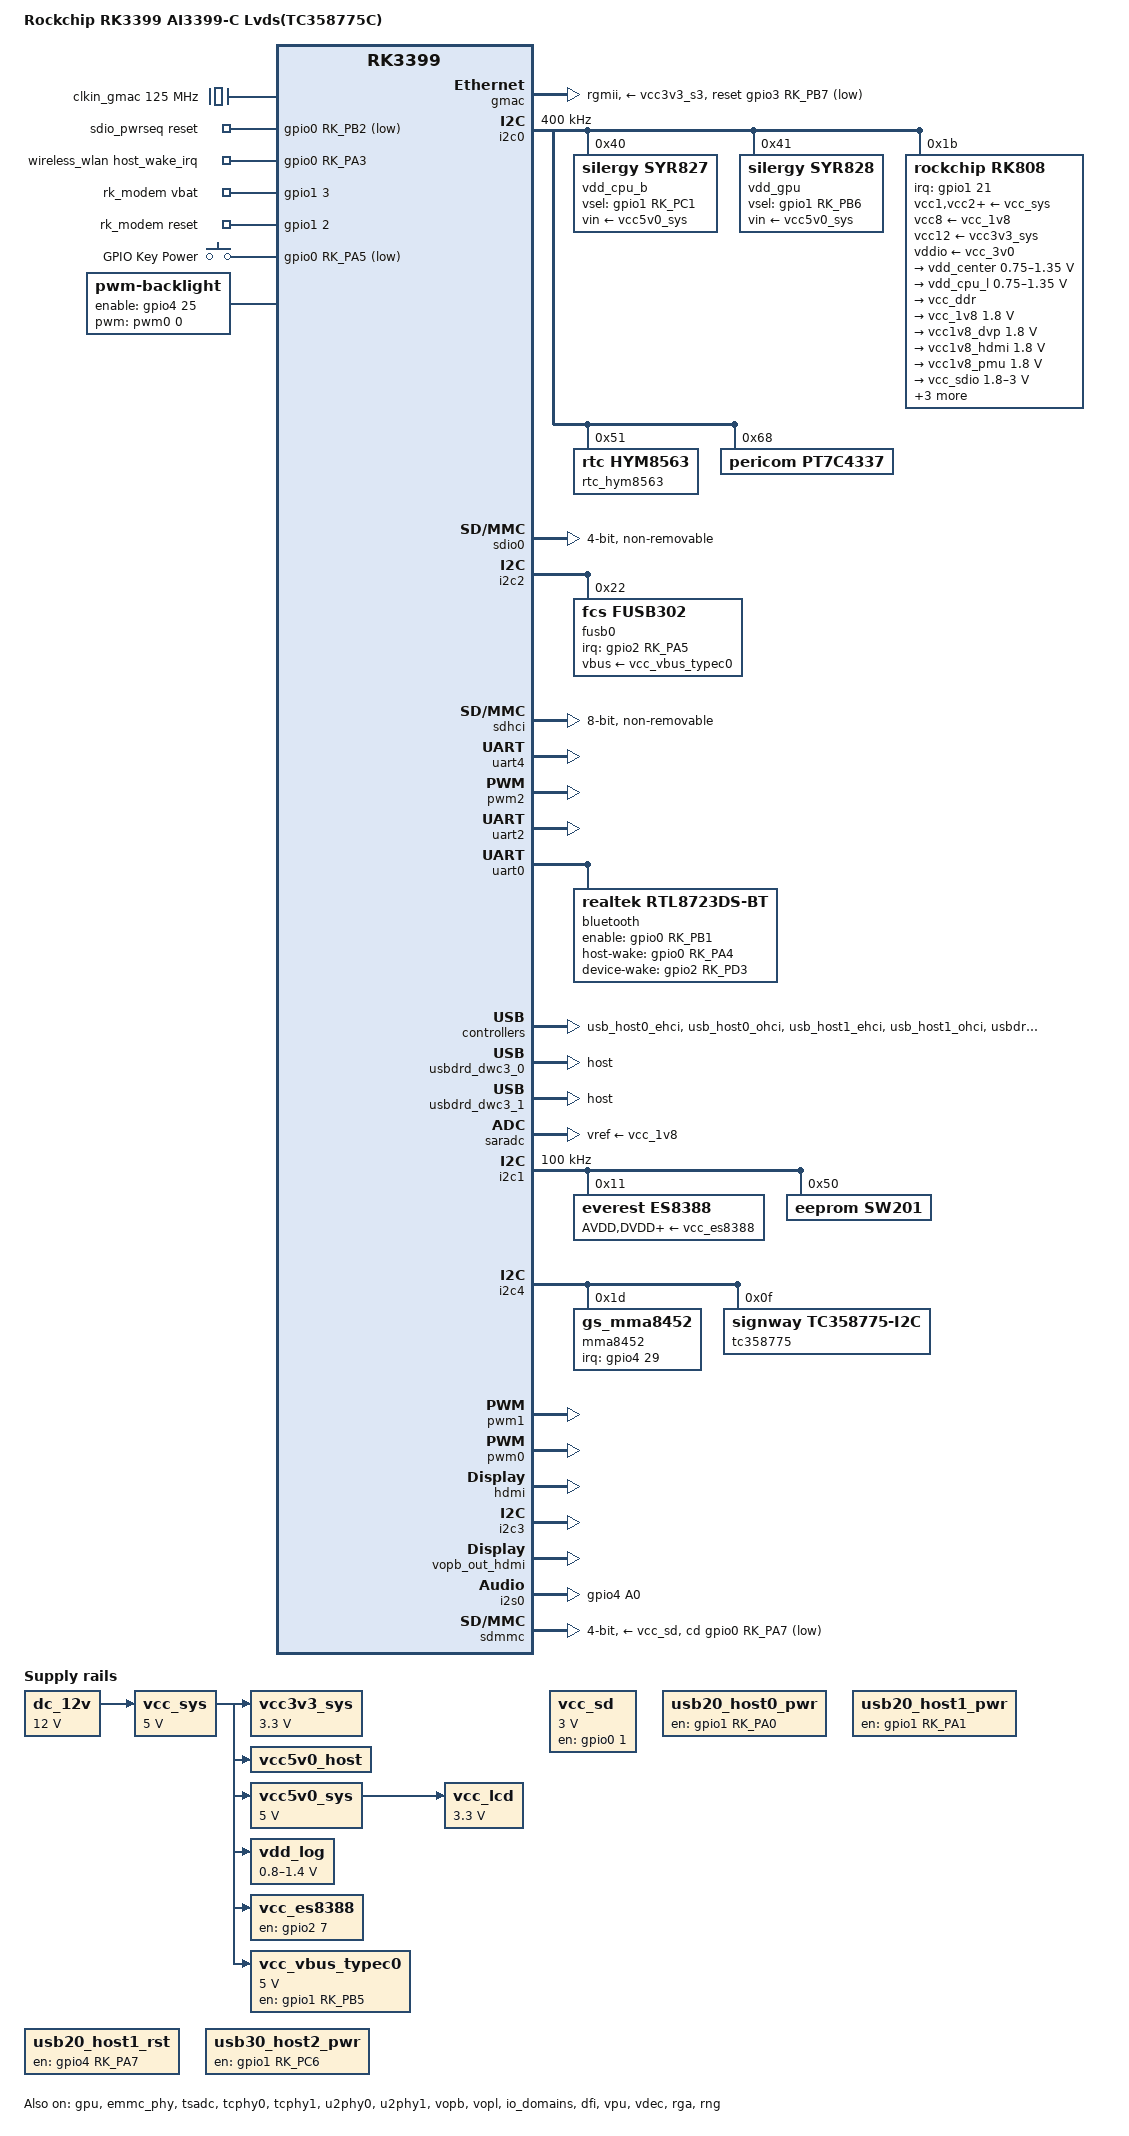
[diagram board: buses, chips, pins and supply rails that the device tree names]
// SPDX-License-Identifier: (GPL-2.0+ OR MIT)
/*
 * Copyright (c) 2016 Fuzhou Rockchip Electronics Co., Ltd
 * Copyright (c) 2025 puppywang
 */

/dts-v1/;
#include <dt-bindings/pwm/pwm.h>
#include <dt-bindings/input/input.h>
#include <dt-bindings/usb/pd.h>
#include "rk3399.dtsi"

/ {
	model = "Rockchip RK3399 AI3399-C Lvds(TC358775C)";
	compatible = "signway,rk3399-ai3399c-lvds", "rockchip,rk3399";

	aliases {
		ethernet0 = &gmac;
		mmc0 = &sdhci;
		mmc1 = &sdmmc;
		mmc2 = &sdio0;
	};

	chosen {
		stdout-path = "serial2:1500000n8";
		bootargs = "earlycon=uart8250,mmio32,0xff1a0000 console=ttyS2,1500000n8";
	};

	clkin_gmac: external-gmac-clock {
		compatible = "fixed-clock";
		clock-frequency = <125000000>;
		clock-output-names = "clkin_gmac";
		#clock-cells = <0>;
	};

	dc_12v: dc-12v {
		compatible = "regulator-fixed";
		regulator-name = "dc_12v";
		regulator-always-on;
		regulator-boot-on;
		regulator-min-microvolt = <12000000>;
		regulator-max-microvolt = <12000000>;
	};

	vcc_sys: vcc-sys {
		compatible = "regulator-fixed";
		regulator-name = "vcc_sys";
		regulator-always-on;
		regulator-boot-on;
		regulator-min-microvolt = <5000000>;
		regulator-max-microvolt = <5000000>;
		vin-supply = <&dc_12v>;
	};
	vcc3v3_sys: vcc3v3-sys {
		compatible = "regulator-fixed";
		regulator-name = "vcc3v3_sys";
		regulator-always-on;
		regulator-boot-on;
		regulator-min-microvolt = <3300000>;
		regulator-max-microvolt = <3300000>;
		vin-supply = <&vcc_sys>;
	};

	vcc5v0_host: vcc5v0-host-regulator {
		compatible = "regulator-fixed";
		regulator-name = "vcc5v0_host";
		regulator-always-on;
		vin-supply = <&vcc_sys>;
	};

	vcc5v0_sys: vcc5v0-sys {
		compatible = "regulator-fixed";
		regulator-name = "vcc5v0_sys";
		regulator-always-on;
		regulator-boot-on;
		regulator-min-microvolt = <5000000>;
		regulator-max-microvolt = <5000000>;
		vin-supply = <&vcc_sys>;
	};

	vdd_log: vdd-log {
		compatible = "pwm-regulator";
		pwms = <&pwm2 0 25000 1>;
		rockchip,pwm_id = <2>;
		rockchip,pwm_voltage = <1000000>;
		regulator-name = "vdd_log";
		regulator-always-on;
		regulator-boot-on;
		regulator-min-microvolt = <800000>;
		regulator-max-microvolt = <1400000>;
		vin-supply = <&vcc_sys>;
	};

	vcc_es8388: vcc-es8388-regulator {
		compatible = "regulator-fixed";
		enable-active-high;
		gpio = <&gpio2 7 GPIO_ACTIVE_HIGH>;
		pinctrl-names = "default";
		pinctrl-0 = <&es8388_en>;
		regulator-name = "vcc_es8388";
		regulator-boot-on;
		regulator-always-on;
		vin-supply = <&vcc_sys>;
	};

	vcc_sd: vcc-sd {
		compatible = "regulator-fixed";
		enable-active-high;
		gpio = <&gpio0 1 GPIO_ACTIVE_HIGH>;
		pinctrl-names = "default";
		pinctrl-0 = <&sdmmc0_pwr_h>;
		regulator-always-on;
		regulator-boot-on;
		regulator-min-microvolt = <3000000>;
		regulator-max-microvolt = <3000000>;
		regulator-name = "vcc_sd";
	};

	vcc_lcd: vcc-lcd {
		compatible = "regulator-fixed";
		regulator-name = "vcc_lcd";
		startup-delay-us = <20000>;
		regulator-min-microvolt = <3300000>;
		regulator-max-microvolt = <3300000>;
		regulator-always-on;
		regulator-boot-on;
		vin-supply = <&vcc5v0_sys>;
	};

	sdio_pwrseq: sdio-pwrseq {
		compatible = "mmc-pwrseq-simple";
		clocks = <&rk808 1>;
		clock-names = "ext_clock";
		pinctrl-names = "default";
		pinctrl-0 = <&wifi_enable_h>;
		reset-gpios = <&gpio0 RK_PB2 GPIO_ACTIVE_LOW>;
	};

	wireless_wlan: wireless-wlan {
		compatible = "wlan-platdata";
		rockchip,grf = <&grf>;
		wifi_chip_type = "rtl8723ds";
		pinctrl-0 = <&wifi_host_wake_l>;
		WIFI,host_wake_irq = <&gpio0 RK_PA3 GPIO_ACTIVE_HIGH>;
		status = "okay";
	};
	/*
    wireless_bluetooth: wireless-bluetooth {
        compatible = "bluetooth-platdata";
        clocks = <&rk808 1>;
        clock-names = "ext_clock";
        uart_rts_gpios = <&gpio2 19 GPIO_ACTIVE_LOW>;
        pinctrl-names = "default\0rts_gpio";
        pinctrl-0 = <&uart0_rts>;//待引用
        pinctrl-1 = <&uart0_gpios &bt_rst>;//待引用
        BT,reset_gpio = <&gpio0 9 GPIO_ACTIVE_HIGH>;
        BT,wake_gpio = <&gpio2 27 GPIO_ACTIVE_HIGH>;
        BT,wake_host_irq = <&gpio0 4 GPIO_ACTIVE_HIGH>;
        status = "okay";
    };*/
	//改供电
	usb20_host0_pwr {
		status = "okay";
		compatible = "regulator-fixed";
		enable-active-high;
		gpio = <&gpio1 RK_PA0 GPIO_ACTIVE_HIGH>;
		pinctrl-0 = <&usb20_host0_pwr_gpio>;
		pinctrl-names = "default";
		regulator-name = "usb20_host0_pwr";
		regulator-always-on;
	};
	usb20_host1_pwr {
		status = "okay";
		compatible = "regulator-fixed";
		enable-active-high;
		gpio = <&gpio1 RK_PA1 GPIO_ACTIVE_HIGH>;
		pinctrl-0 = <&usb20_host1_pwr_gpio>;
		pinctrl-names = "default";
		regulator-name = "usb20_host1_pwr";
		regulator-always-on;
	};
	usb20_host1_rst {
		status = "okay";
		compatible = "regulator-fixed";
		enable-active-high;
		gpio = <&gpio4 RK_PA7 GPIO_ACTIVE_HIGH>;
		pinctrl-0 = <&usb20_host1_rst_gpio>;
		pinctrl-names = "default";
		regulator-name = "usb20_host1_rst";
		regulator-always-on;
	};
	usb30_host2_pwr {
		status = "okay";
		compatible = "regulator-fixed";
		enable-active-high;
		gpio = <&gpio1 RK_PC6 GPIO_ACTIVE_HIGH>;
		pinctrl-0 = <&usb30_host2_pwr_gpio>;
		pinctrl-names = "default";
		regulator-name = "usb30_host2_pwr";
		regulator-always-on;
	};
	vcc_vbus_typec0: vcc-vbus-typec0 {
		compatible = "regulator-fixed";
		enable-active-high;
		gpio = <&gpio1 RK_PB5 GPIO_ACTIVE_HIGH>;
		pinctrl-names = "default";
		pinctrl-0 = <&vcc_vbus_typec0_en>;
		regulator-name = "vcc_vbus_typec0";
		regulator-min-microvolt = <5000000>;
		regulator-max-microvolt = <5000000>;
		vin-supply = <&vcc_sys>;
	};


	//可能没驱动,注意,可能需要替换成 gpio-leds
	/*
    signway_gpio: signway-gpio {
        status = "okay";
        compatible = "signway,gpio";
        usb20-host0-pwr {
            label = "usb20-host0-pwr";
            gpios = <&gpio1 0 GPIO_ACTIVE_HIGH>;
            default-state = <0x1>;
        };
        usb20-host1-pwr {
            label = "usb20-host1-pwr";
            gpios = <&gpio1 1 GPIO_ACTIVE_HIGH>;
            default-state = <0x1>;
        };
        usb20-host1-rst {
            label = "usb20-host1-rst";
            gpios = <&gpio4 7 GPIO_ACTIVE_HIGH>;
            default-state = <0x1>;
        };
        usb30-host2-pwr {
            label = "usb30-host2-pwr";
            gpios = <&gpio1 22 GPIO_ACTIVE_HIGH>;
            default-state = <0x1>;
        };
    };*/
    rk_modem: rk-modem {
        compatible = "4g-modem-platdata";
        pinctrl-names = "default";
        pinctrl-0 = <&lte_vbat &lte_reset>;//待引用
        4G,vbat-gpio = <&gpio1 3 GPIO_ACTIVE_HIGH>;
        4G,reset-gpio = <&gpio1 2 GPIO_ACTIVE_HIGH>;
        status = "okay";
    };
	es8388_sound: es8388-sound {
        compatible = "simple-audio-card";
        simple-audio-card,format = "i2s";
        simple-audio-card,name = "rockchip,es8388-codec";
        simple-audio-card,mclk-fs = <0x100>;
		simple-audio-card,widgets = "Microphone", "Mic Jack",
									"Headphone", "Headphone Jack";
		simple-audio-card,routing = "LINPUT1", "Mic Jack",
									"Headphone Jack", "LOUT1",
									"Headphone Jack", "ROUT1";
        status = "okay";
        simple-audio-card,cpu {
            sound-dai = <&i2s0>;
        };
        simple-audio-card,codec {
            sound-dai = <&es8388>;
        };
	};
	gpio-keys {
		compatible = "gpio-keys";
		autorepeat;
		pinctrl-names = "default";
		pinctrl-0 = <&pwr_btn>;
		status = "okay";

		power {
			debounce-interval = <100>;
			gpios = <&gpio0 RK_PA5 GPIO_ACTIVE_LOW>;
			label = "GPIO Key Power";
			linux,code = <KEY_POWER>;
			wakeup-source;
		};
	};

	reserved-memory {
		#address-cells = <2>;
		#size-cells = <2>;
		ranges;

		ramoops_mem: ramoops@110000 {
			reg = <0x0 0x110000 0x0 0xf0000>;
			reg-names = "ramoops_mem";
		};
	};

	ramoops {
		compatible = "ramoops";
		record-size = <0x20000>;
		console-size = <0x80000>;
		ftrace-size = <0x00000>;
		pmsg-size = <0x50000>;
		memory-region = <&ramoops_mem>;
	};

	backlight {
		status = "okay";
		compatible = "pwm-backlight";
		brightness-levels = <
			 47  47  47  47  47  47  48  48  49  49  50  50  51  51  52  52
			 53  53  54  54  55  55  56  56  57  57  58  58  59  59  60  60
			 61  61  62  62  63  63  64  64  65  65  66  66  67  67  68  68
			 69  69  70  70  71  71  72  72  73  73  74  74  75  75  76  76
			 77  77  78  78  79  79  80  80  81  81  82  82  83  83  84  84
			 85  85  86  86  87  87  88  88  89  90  91  92  93  94  95  96
			 97  98  99 100 101 102 103 104 105 106 107 108 109 110 111 112
			113 114 115 116 117 118 119 120 121 122 123 124 125 126 127 128
			129 130 131 132 133 134 135 136 137 138 139 140 141 142 143 144
			145 146 147 148 149 150 151 152 153 154 155 156 157 158 159 160
			161 162 163 164 165 166 167 168 169 170 171 172 173 174 175 176
			177 178 179 180 181 182 183 184 185 186 187 188 189 190 191 192
			193 194 195 196 197 198 199 200 201 202 203 204 205 206 207 208
			209 210 211 212 213 214 215 216 217 218 219 220 221 222 223 224
			225 226 227 228 229 230 231 232 233 234 235 236 237 238 239 240
			241 242 243 244 245 246 247 248 249 250 251 252 253 254 255>;
		default-brightness-level = <200>;
		enable-gpios = <&gpio4 25 GPIO_ACTIVE_HIGH>;
		pwms = <&pwm0 0 5000000 PWM_POLARITY_INVERTED>;
	};
};

&cpu_l0 {
	cpu-supply = <&vdd_cpu_l>;
};

&cpu_l1 {
	cpu-supply = <&vdd_cpu_l>;
};

&cpu_l2 {
	cpu-supply = <&vdd_cpu_l>;
};

&cpu_l3 {
	cpu-supply = <&vdd_cpu_l>;
};

&cpu_b0 {
	cpu-supply = <&vdd_cpu_b>;
};

&cpu_b1 {
	cpu-supply = <&vdd_cpu_b>;
};

&gpu {
	mali-supply = <&vdd_gpu>;
	status = "okay";
};

&emmc_phy {
	status = "okay";
};

&gmac {
	phy-supply = <&vcc3v3_s3>;
	phy-mode = "rgmii";
	clock_in_out = "input";
	snps,reset-gpio = <&gpio3 RK_PB7 GPIO_ACTIVE_LOW>;
	snps,reset-active-low;
	snps,reset-delays-us = <0 10000 50000>;
	assigned-clocks = <&cru SCLK_RMII_SRC>;
	assigned-clock-parents = <&clkin_gmac>;
	pinctrl-names = "default";
	pinctrl-0 = <&rgmii_pins>;
	tx_delay = <0x34>;
	rx_delay = <0x27>;
	status = "okay";
};

&i2c0 {
	status = "okay";
	i2c-scl-rising-time-ns = <168>;
	i2c-scl-falling-time-ns = <4>;
	clock-frequency = <400000>;

	vdd_cpu_b: syr827@40 {
		compatible = "silergy,syr827";
		reg = <0x40>;
		vin-supply = <&vcc5v0_sys>;
		regulator-compatible = "fan53555-reg";
		pinctrl-0 = <&vsel1_gpio>;
		vsel-gpios = <&gpio1 RK_PC1 GPIO_ACTIVE_HIGH>;
		regulator-name = "vdd_cpu_b";
		regulator-min-microvolt = <712500>;
		regulator-max-microvolt = <1500000>;
		regulator-ramp-delay = <1000>;
		fcs,suspend-voltage-selector = <1>;
		regulator-always-on;
		regulator-boot-on;
		regulator-initial-state = <3>;

		regulator-state-mem {
			regulator-off-in-suspend;
		};
	};

	vdd_gpu: syr828@41 {
		compatible = "silergy,syr828";
		reg = <0x41>;
		vin-supply = <&vcc5v0_sys>;
		regulator-compatible = "fan53555-reg";
		pinctrl-names = "default";
		pinctrl-0 = <&vsel2_gpio>;
		vsel-gpios = <&gpio1 RK_PB6 GPIO_ACTIVE_HIGH>;
		regulator-name = "vdd_gpu";
		regulator-min-microvolt = <712500>;
		regulator-max-microvolt = <1500000>;
		regulator-ramp-delay = <1000>;
		fcs,suspend-voltage-selector = <1>;
		regulator-always-on;
		regulator-boot-on;
		regulator-initial-state = <3>;

		regulator-state-mem {
			regulator-off-in-suspend;
		};
	};

	rk808: pmic@1b {
		compatible = "rockchip,rk808";
		reg = <0x1b>;
		interrupt-parent = <&gpio1>;
		interrupts = <21 IRQ_TYPE_LEVEL_LOW>;
		pinctrl-names = "default";
		pinctrl-0 = <&pmic_int_l>;
		rockchip,system-power-controller;
		wakeup-source;
		#clock-cells = <1>;
		clock-output-names = "xin32k", "rk808-clkout2";
		vcc1-supply = <&vcc_sys>;
		vcc2-supply = <&vcc_sys>;
		vcc3-supply = <&vcc_sys>;
		vcc4-supply = <&vcc_sys>;
		vcc6-supply = <&vcc_sys>;
		vcc7-supply = <&vcc_sys>;
		vcc8-supply = <&vcc_1v8>;
		vcc9-supply = <&vcc_sys>;
		vcc10-supply = <&vcc_sys>;
		vcc11-supply = <&vcc_sys>;
		vcc12-supply = <&vcc3v3_sys>;
		vddio-supply = <&vcc_3v0>;
		rtc {
			status = "okay";
		};
		regulators {

			vdd_center: DCDC_REG1 {
				regulator-always-on;
				regulator-boot-on;
				regulator-min-microvolt = <750000>;
				regulator-max-microvolt = <1350000>;
				regulator-ramp-delay = <6001>;
				regulator-name = "vdd_center";

				regulator-state-mem {
					regulator-off-in-suspend;
				};
			};

			vdd_cpu_l: DCDC_REG2 {
				regulator-always-on;
				regulator-boot-on;
				regulator-min-microvolt = <750000>;
				regulator-max-microvolt = <1350000>;
				regulator-ramp-delay = <6001>;
				regulator-name = "vdd_cpu_l";

				regulator-state-mem {
					regulator-off-in-suspend;
				};
			};

			vcc_ddr: DCDC_REG3 {
				regulator-always-on;
				regulator-boot-on;
				regulator-name = "vcc_ddr";

				regulator-state-mem {
					regulator-on-in-suspend;
				};
			};

			vcc_1v8: DCDC_REG4 {
				regulator-always-on;
				regulator-boot-on;
				regulator-min-microvolt = <1800000>;
				regulator-max-microvolt = <1800000>;
				regulator-name = "vcc_1v8";

				regulator-state-mem {
					regulator-on-in-suspend;
					regulator-suspend-microvolt = <1800000>;
				};
			};

			vcc1v8_dvp: LDO_REG1 {
				regulator-always-on;
				regulator-boot-on;
				regulator-min-microvolt = <1800000>;
				regulator-max-microvolt = <1800000>;
				regulator-name = "vcc1v8_dvp";

				regulator-state-mem {
					regulator-off-in-suspend;
				};
			};

			vcc1v8_hdmi: LDO_REG2 {
				regulator-name = "vcc1v8_hdmi";
				regulator-always-on;
				regulator-boot-on;
				regulator-min-microvolt = <1800000>;
				regulator-max-microvolt = <1800000>;
				regulator-state-mem {
					regulator-on-in-suspend;
					regulator-suspend-microvolt = <1800000>;
				};
			};

			vcc1v8_pmu: LDO_REG3 {
				regulator-always-on;
				regulator-boot-on;
				regulator-min-microvolt = <1800000>;
				regulator-max-microvolt = <1800000>;
				regulator-name = "vcc1v8_pmu";

				regulator-state-mem {
					regulator-on-in-suspend;
					regulator-suspend-microvolt = <1800000>;
				};
			};

			vcc_sdio: LDO_REG4 {
				regulator-always-on;
				regulator-boot-on;
				regulator-min-microvolt = <1800000>;
				regulator-max-microvolt = <3000000>;
				regulator-name = "vcc_sdio";

				regulator-state-mem {
					regulator-on-in-suspend;
					regulator-suspend-microvolt = <3000000>;
				};
			};

			vcca3v0_tp: LDO_REG5 {
				regulator-always-on;
				regulator-boot-on;
				regulator-min-microvolt = <3000000>;
				regulator-max-microvolt = <3000000>;
				regulator-name = "vcca3v0_codec";

				regulator-state-mem {
					regulator-off-in-suspend;
				};
			};

			vcc_1v5: LDO_REG6 {
				regulator-always-on;
				regulator-boot-on;
				regulator-min-microvolt = <1500000>;
				regulator-max-microvolt = <1500000>;
				regulator-name = "vcc_1v5";

				regulator-state-mem {
					regulator-on-in-suspend;
					regulator-suspend-microvolt = <1500000>;
				};
			};

			vcca0v9_hdmi: LDO_REG7 {
				regulator-name = "vcca0v9_hdmi";
				regulator-always-on;
				regulator-boot-on;
				regulator-min-microvolt = <900000>;
				regulator-max-microvolt = <900000>;
				regulator-state-mem {
					regulator-on-in-suspend;
					regulator-suspend-microvolt = <900000>;
				};
			};

			vcc_3v0: LDO_REG8 {
				regulator-always-on;
				regulator-boot-on;
				regulator-min-microvolt = <3000000>;
				regulator-max-microvolt = <3000000>;
				regulator-name = "vcc_3v0";

				regulator-state-mem {
					regulator-on-in-suspend;
					regulator-suspend-microvolt = <3000000>;
				};
			};

			vcc3v3_s3: SWITCH_REG1 {
				regulator-always-on;
				regulator-boot-on;
				regulator-name = "vcc3v3_s3";

				regulator-state-mem {
					regulator-on-in-suspend;
				};
			};

			vcc3v3_s0: SWITCH_REG2 {
				regulator-always-on;
				regulator-boot-on;
				regulator-name = "vcc3v3_s0";

				regulator-state-mem {
					regulator-on-in-suspend;
				};
			};
		};
	};
	rtc_hym8563: rtc_hym8563@51 {
		status = "okay";
		compatible = "rtc,hym8563";
		reg = <0x51>;
	};
	/*未驱动,待驱动*/
	pt7c4337: pt7c4337@68 {
		status = "okay";
		compatible = "pericom,pt7c4337";
		reg = <0x68>;
	};
};

&sdio0 {
	bus-width = <4>;
	cap-sdio-irq;
	cap-sd-highspeed;
	keep-power-in-suspend;
	mmc-pwrseq = <&sdio_pwrseq>;
	non-removable;
	pinctrl-names = "default";
	pinctrl-0 = <&sdio0_bus4 &sdio0_cmd &sdio0_clk>;
	sd-uhs-sdr104;
	#address-cells = <1>;
	#size-cells = <0>;
	status = "okay";
};

&i2c2 {
	status = "okay";
	fusb0: fusb30x@22 {
		compatible = "fcs,fusb302";
		reg = <0x22>;
		pinctrl-names = "default";
		pinctrl-0 = <&fusb0_int>;

		interrupt-parent = <&gpio2>;
		interrupts = <RK_PA5 IRQ_TYPE_LEVEL_LOW>;
		vbus-supply = <&vcc_vbus_typec0>;
		//vbus-5v-gpios = <&gpio1 13 GPIO_ACTIVE_HIGH>;
		status = "okay";

		/* NOTE: usb-role-switch ports node disabled since DWC3 is in host mode.
		 * TODO: Re-enable when fixing OTG support.
		 */

		typec_con: connector {
			compatible = "usb-c-connector";
			data-role = "dual";
			label = "USB-C";
			op-sink-microwatt = <1000000>;
			power-role = "dual";

			sink-pdos =
				<PDO_FIXED(5000, 2500, PDO_FIXED_USB_COMM)>;
			source-pdos =
				<PDO_FIXED(5000, 1400, PDO_FIXED_USB_COMM)>;
			try-power-role = "source";
			ports {
			/*	#address-cells = <1>;
				#size-cells = <0>;

				port@0 {
					reg = <0>;
					typec_hs: endpoint {
						remote-endpoint = <&u2phy0_typec_hs>;
					};
				};
				port@1 {
					reg = <1>;
					typec_ss: endpoint {
						remote-endpoint = <&tcphy0_typec_ss>;
					};
				};
				port@2 {
					reg = <2>;
					typec_dp: endpoint {
						remote-endpoint = <&tcphy0_typec_dp>;
					};
				}; */
			};
		};
	};
};
/*
从firefly抄袭的节点
&i2c4 {
	i2c-scl-rising-time-ns = <600>;
	i2c-scl-falling-time-ns = <20>;
	status = "okay";

	fusb1: usb-typec@22 {
		compatible = "fcs,fusb302";
		reg = <0x22>;
		interrupt-parent = <&gpio1>;
		interrupts = <1 IRQ_TYPE_LEVEL_LOW>;
		pinctrl-names = "default";
		pinctrl-0 = <&fusb1_int>;
		vbus-supply = <&vcc_vbus_typec1>;
		status = "okay";
	};
};
*/
&sdhci {
	bus-width = <8>;
	mmc-hs400-1_8v;
	mmc-hs400-enhanced-strobe;
	keep-power-in-suspend;
	non-removable;
	supports-emmc;
	status = "okay";
};
&uart4{
	status = "okay";
};
&tsadc {
	status = "okay";
	rockchip,hw-tshut-mode = <1>;
	rockchip,hw-tshut-polarity = <1>;
};

&pwm2 {
	status = "okay";
};

&uart2 {
	status = "okay";
};
// RTL8723DS Bluetooth via UART0
&uart0 {
	pinctrl-names = "default";
	pinctrl-0 = <&uart0_xfer &uart0_cts &uart0_rts>;
	status = "okay";

	bluetooth {
		compatible = "realtek,rtl8723ds-bt";
		enable-gpios = <&gpio0 RK_PB1 GPIO_ACTIVE_HIGH>;  // BT_REG_ON
		host-wake-gpios = <&gpio0 RK_PA4 GPIO_ACTIVE_HIGH>;  // BT_HOST_WAKE
		device-wake-gpios = <&gpio2 RK_PD3 GPIO_ACTIVE_HIGH>;  // BT_WAKE
		pinctrl-names = "default";
		pinctrl-0 = <&bt_reg_on_h &bt_host_wake_l &bt_wake_l>;
	};
};
	/*参考
    wireless_bluetooth: wireless-bluetooth {
        compatible = "bluetooth-platdata";
        clocks = <&rk808 1>;
        clock-names = "ext_clock";
        uart_rts_gpios = <&gpio2 19 GPIO_ACTIVE_LOW>;
        pinctrl-names = "default\0rts_gpio";
        pinctrl-0 = <&uart0_rts>;//待引用
        pinctrl-1 = <&uart0_gpios &bt_rst>;//待引用
        BT,reset_gpio = <&gpio0 9 GPIO_ACTIVE_HIGH>;
        BT,wake_gpio = <&gpio2 27 GPIO_ACTIVE_HIGH>;
        BT,wake_host_irq = <&gpio0 4 GPIO_ACTIVE_HIGH>;
        status = "okay";
    };*/
&tcphy0 {
	status = "okay";
};
&tcphy0_dp { // verify
	port {
		/* tcphy0_typec_dp: endpoint {
			remote-endpoint = <&typec_dp>;
		}; */
	};
};
&tcphy0_usb3 { // verify
	port {
		/* tcphy0_typec_ss: endpoint {
			remote-endpoint = <&typec_ss>;
		}; */
	};
};
&tcphy1 {
	status = "okay";
};

&u2phy0 {
	status = "okay";

	u2phy0_otg: otg-port {
		status = "okay";
	};

	u2phy0_host: host-port {
		phy-supply = <&vcc5v0_host>;
		status = "okay";
	};

	port {
		/* u2phy0_typec_hs: endpoint {
			remote-endpoint = <&typec_hs>;
		}; */
	};
};
&u2phy1 {
	status = "okay";

	u2phy1_otg: otg-port {
		status = "okay";
	};

	u2phy1_host: host-port {
		phy-supply = <&vcc5v0_host>;
		status = "okay";
	};
};
&spdif {
	status = "disabled";  // conflicts with ES8388 spk-ctl GPIO4_C5
	i2c-scl-rising-time-ns = <450>;
	i2c-scl-falling-time-ns = <15>;
};
&usb_host0_ehci {
	status = "okay";
};

&usb_host0_ohci {
	status = "okay";
};

&usb_host1_ehci {
	status = "okay";
};

&usb_host1_ohci {
	status = "okay";
};

&usbdrd3_0 {
	status = "okay";
};

&usbdrd_dwc3_0 {
	status = "okay";
	dr_mode = "host";
	/* NOTE: usb-role-switch disabled due to TCPM not registering as provider.
	 * Type-C will work as pure host mode for now.
	 * TODO: Fix OF graph connection between fusb302 and DWC3 for proper OTG.
	 */
};

&usbdrd3_1 {
	status = "okay";
};

&usbdrd_dwc3_1 {
	status = "okay";
	dr_mode = "host";
};
&pinctrl {
	/*
	sleep {
		ap_pwroff: ap-pwroff {
			rockchip,pins = <1 RK_PA5 1 &pcfg_pull_none>;
		};
		ddrio_pwroff: ddrio-pwroff {
			rockchip,pins = <0 RK_PA1 1 &pcfg_pull_none>;
		};
	};*/
	backlight-enable {
		bl_edp_enable_gpio: bl-edp-enable-gpio {
			rockchip,pins = <0 RK_PB1 RK_FUNC_GPIO &pcfg_pull_none>;
		};

		bl-edp-pwr-gpio {
			rockchip,pins = <4 RK_PD1 RK_FUNC_GPIO &pcfg_pull_none>;
		};
	};
	wireless-bluetooth {
		uart0_gpios: uart0-gpios {
			rockchip,pins = <2 RK_PC3 RK_FUNC_GPIO &pcfg_pull_none>;
		};
		bt_rst: bt-rst {
			rockchip,pins = <0 RK_PB1 RK_FUNC_GPIO &pcfg_pull_none>;
		};
	};
	wifi {
		wifi_host_wake_l: wifi-host-wake-l {
			rockchip,pins = <0 RK_PA3 RK_FUNC_GPIO &pcfg_pull_none>; // checked
		};
	};
	es8388_power {
		es8388_en: es8388-en {
			rockchip,pins = <2 RK_PA7 RK_FUNC_GPIO &pcfg_pull_none>;
		};
	};
	fusb30x {
		fusb0_int: fusb0-int {
			rockchip,pins = <2 RK_PA5 RK_FUNC_GPIO &pcfg_pull_up>;
		};
	};
	4g-moudle {
		lte_vbat: lte-vbat {
			rockchip,pins = <1 RK_PA3 RK_FUNC_GPIO &pcfg_pull_none>;
		};
		lte_reset: lte-reset {
			rockchip,pins = <1 RK_PA2 RK_FUNC_GPIO &pcfg_pull_none>;
		};
	};
	mma8452 {
		mma8452_irq_gpio: mma8452-irq-gpio {
			rockchip,pins = <4 RK_PD5 RK_FUNC_GPIO &pcfg_pull_none>;
		};
	};
	tsadc {
		otp_gpio: otp-gpio {
			rockchip,pins = <1 RK_PA6 RK_FUNC_GPIO &pcfg_pull_none>;
		};
		otp_out: otp-out {
			rockchip,pins = <1 RK_PA6 1 &pcfg_pull_none>;
		};
	};
	pmic {
		pmic_int_l: pmic-int-l {
			rockchip,pins = <1 RK_PC5 RK_FUNC_GPIO &pcfg_pull_up>;
		};
		vsel1_gpio: vsel1-gpio {
			rockchip,pins = <1 RK_PC1 RK_FUNC_GPIO &pcfg_pull_down>;
		};
		vsel2_gpio: vsel2-gpio {
			rockchip,pins = <1 RK_PB6 RK_FUNC_GPIO &pcfg_pull_down>;
		};
	};
	buttons {
		pwr_btn: pwr-btn {
			rockchip,pins = <0 RK_PA5 RK_FUNC_GPIO &pcfg_pull_up>;
		};
	};
	sd {
		sdmmc0_pwr_h: sdmmc0-pwr-h {
			rockchip,pins = <0 RK_PA1 RK_FUNC_GPIO &pcfg_pull_none>;
		};
	};
	sdio-pwrseq {
		wifi_enable_h: wifi-enable-h {
			rockchip,pins = <0 RK_PB2 RK_FUNC_GPIO &pcfg_pull_none>;
		};
	};
	bluetooth {
		bt_reg_on_h: bt-enable-h {
			rockchip,pins = <0 RK_PB1 RK_FUNC_GPIO &pcfg_pull_none>; // checked
		};

		bt_host_wake_l: bt-host-wake-l {
			rockchip,pins = <0 RK_PA4 RK_FUNC_GPIO &pcfg_pull_none>; // checked
		};

		bt_wake_l: bt-wake-l {
			rockchip,pins = <2 RK_PD3 RK_FUNC_GPIO &pcfg_pull_none>; // checked
		};
	};
	usb-typec {
		vcc_vbus_typec0_en: vcc-vbus-typec0-en {
			rockchip,pins = <1 RK_PB5 RK_FUNC_GPIO &pcfg_pull_none>;
		};
	};
	i2s0 {
		i2s_8ch_mclk_pin: i2s-8ch-mclk-pin {
			rockchip,pins = <4 RK_PA0 1 &pcfg_pull_none>; // verify
		};
	};
	usb-power {
		usb20_host0_pwr_gpio: usb20-host0-pwr-gpio {
			rockchip,pins = <1 RK_PA0 RK_FUNC_GPIO &pcfg_pull_none>; // verify
		};
		usb20_host1_pwr_gpio: usb20-host1-pwr-gpio {
			rockchip,pins = <1 RK_PA1 RK_FUNC_GPIO &pcfg_pull_none>; // verify
		};
		usb20_host1_rst_gpio: usb20-host1-rst-gpio {
			rockchip,pins = <4 RK_PA7 RK_FUNC_GPIO &pcfg_pull_none>; // verify
		};
		usb30_host2_pwr_gpio: usb30-host2-pwr-gpio {
			rockchip,pins = <1 RK_PC6 RK_FUNC_GPIO &pcfg_pull_none>; // verify
		};
	};
	es8388 {
		amp_gain: amp-gain {
			rockchip,pins = <1 RK_PC2 RK_FUNC_GPIO &pcfg_pull_none>;
		};

		spk_ctl: spk-ctl {
			rockchip,pins = <4 RK_PC5 RK_FUNC_GPIO &pcfg_pull_none>;
		};
	};
};

&tsadc {
	status = "okay";
	rockchip,hw-tshut-temp = <120000>;
	rockchip,hw-tshut-mode = <1>;
	rockchip,hw-tshut-polarity = <1>;
};
&saradc {
	status = "okay";
	vref-supply = <&vcc_1v8>;
};
&i2c1 {
	status = "okay";
	i2c-scl-rising-time-ns = <300>;
	i2c-scl-falling-time-ns = <15>;
	clock-frequency = <100000>;

	es8388: es8388@11 {
		status = "okay";
		compatible = "everest,es8388", "everest,es8328";
		reg = <0x11>;
		clocks = <&cru SCLK_I2S_8CH_OUT>;
		clock-names = "mclk";
		#sound-dai-cells = <0>;
		// amp-gain-gpios and spk-ctl-gpios removed - mainline es8328 driver
		// does not support these properties (causes pinctrl conflict with SPDIF)
		AVDD-supply = <&vcc_es8388>;
		DVDD-supply = <&vcc_es8388>;
		HPVDD-supply = <&vcc_es8388>;
		PVDD-supply = <&vcc_es8388>;
	};

	eeprom: sw201@50 {
		status = "okay";
		compatible = "eeprom,sw201";
		reg = <0x50>;
	};
};
&i2c4 {
	status = "okay";
	i2c-scl-rising-time-ns = <600>;
	i2c-scl-falling-time-ns = <20>;
	mma8452: mma8452@1d {
		status = "okay";
		compatible = "gs_mma8452";
		reg = <0x1d>;
		type = <0x2>;
		irq-gpio = <&gpio4 29 IRQ_TYPE_EDGE_FALLING>;
		pinctrl-names = "default";
		pinctrl-0 = <&mma8452_irq_gpio>;
		irq_enable = <1>;
		poll_delay_ms = <30>;
		layout = <8>;
	};
	//没驱动
	tc358775: tc358775@f {
		compatible = "signway,tc358775-i2c";
		reg = <0xf>;
	};
};
&pwm2 {
	status = "okay";
};
&pwm1 {
	status = "okay";
};
&pwm0 {
	status = "okay";
};
&pwm3 {
	compatible = "rockchip,remotectl-pwm";
	status = "disabled";
	interrupts = <0x0 0x3D 0x4 0x0>;//待引用
	remote_pwm_id = <0x3>;
	handle_cpu_id = <0x1>;
	ir_key1 {
		rockchip,usercode = <0xFF00>;
		rockchip,key_table = <0xBA 0x57 0xAE 0x43 0xB9 0x8B 0xAD 0x42 0xB6 0x3B 0xB2 0x3C 0xAA 0x3D 0xA6 0x3E 0xE6 0x67 0xE3 0x6C 0xF3 0x69 0xA1 0x6A 0xE7 0x1C 0xB8 0x44 0xEA 0x73 0xF6 0x72 0xF8 0x71 0xFB 0x2 0xFA 0x3 0xF9 0x4 0xEB 0x5 0xE9 0x6 0xE8 0x7 0xF7 0x8 0xF5 0x9 0xF4 0xA 0xF1 0xB 0xB5 0xF 0xB7 0xAC 0xA4 0x9E 0xB3 0x40 0xF0 0x3F 0xF2 0x41>;
	};
};
&hdmi {
	status = "okay";
	// rockchip,defaultmode = <16>;
	avdd-0v9-supply = <&vcca0v9_hdmi>;
	avdd-1v8-supply = <&vcc1v8_hdmi>;

	ddc-i2c-scl-high-time-ns = <9625>;
    ddc-i2c-scl-low-time-ns = <10000>;
	//pinctrl-0 = <&hdmi_i2c_xfer>;
	//冲突,和i2c3
	pinctrl-names = "default";
	ddc-i2c-bus = <&i2c3>;
};
//临时开启下试试
//i2c3其实就是 hdmi-i2c-xfer,两者一样
&i2c3 {
	i2c-scl-rising-time-ns = <450>;
	i2c-scl-falling-time-ns = <15>;
	status = "okay";
};
//扁平树直接访问设置
&vopb_out_hdmi {
	status = "okay";
};
&vopl_out_hdmi {
	status = "disabled";
};
&hdmi_sound {
	status = "disabled";
};

&i2s0 {
	status = "okay";
	pinctrl-0 = <&i2s_8ch_mclk_pin>, <&i2s0_8ch_bus>;
	rockchip,playback-channels = <8>;
	rockchip,capture-channels = <8>;
	assigned-clocks = <&cru SCLK_I2S0_8CH>;
	// assigned-clock-parents removed - causes reparent error
};

&i2s2 {
	status = "disabled";
	rockchip,bclk-fs = <128>;
};
&vopb_mmu {
	status = "okay";
};

&vopb {
	status = "okay";
	// assigned-clocks = <&cru DCLK_VOP0_DIV>;
	// assigned-clock-parents = <&cru PLL_VPLL>;
};

&vopl_mmu {
	status = "okay";
};

&vopl {
	status = "okay";
	assigned-clocks = <&cru DCLK_VOP1_DIV>;
	assigned-clock-parents = <&cru PLL_CPLL>;
};
//添加 io_domains
&io_domains {
	bt656-supply = <&vcc_1v8>;
	audio-supply = <&vcc_3v0>;
	sdmmc-supply = <&vcc_sdio>;
	gpio1830-supply = <&vcc_3v0>;
	wifi-supply = <&vcc3v3_sys>;
	status = "okay";
};
&pmu_io_domains {
	pmu1830-supply = <&vcc_3v0>;
	status = "okay";
};
&sdmmc {
	status = "okay";
	bus-width = <4>;
	cap-mmc-highspeed;
	cap-sd-highspeed;
	supports-sd;
	clock-frequency = <150000000>;//150000000
	cd-gpios = <&gpio0 RK_PA7 GPIO_ACTIVE_LOW>;
	disable-wp;
	sd-uhs-sdr104;
	pinctrl-names = "default";
	pinctrl-0 = <&sdmmc_clk &sdmmc_cmd &sdmmc_cd &sdmmc_bus4>; //待引用
	vqmmc-supply = <&vcc_sdio>;//待引用
	vmmc-supply = <&vcc_sd>;//待引用
};
&dfi {
	status = "okay";
};
//vdpu@ff650400,ok,但是没节点
&vpu {
	status = "okay";
};
&vpu_mmu {
	status = "okay";
};
&vdec {
	status = "okay";
};
&vdec_mmu {
	status = "okay";
};
//iep@ff670000,ok,但是没节点
&iep_mmu{
	status = "okay";
};
&rga{
	status = "okay";
};
//pcie-phy(没有pcie开启无用),mipi_dsi:待开启.(目前没屏幕)
/*
&dsi{
	status = "disabled";
};*/
&rng {
	status = "okay";
};
